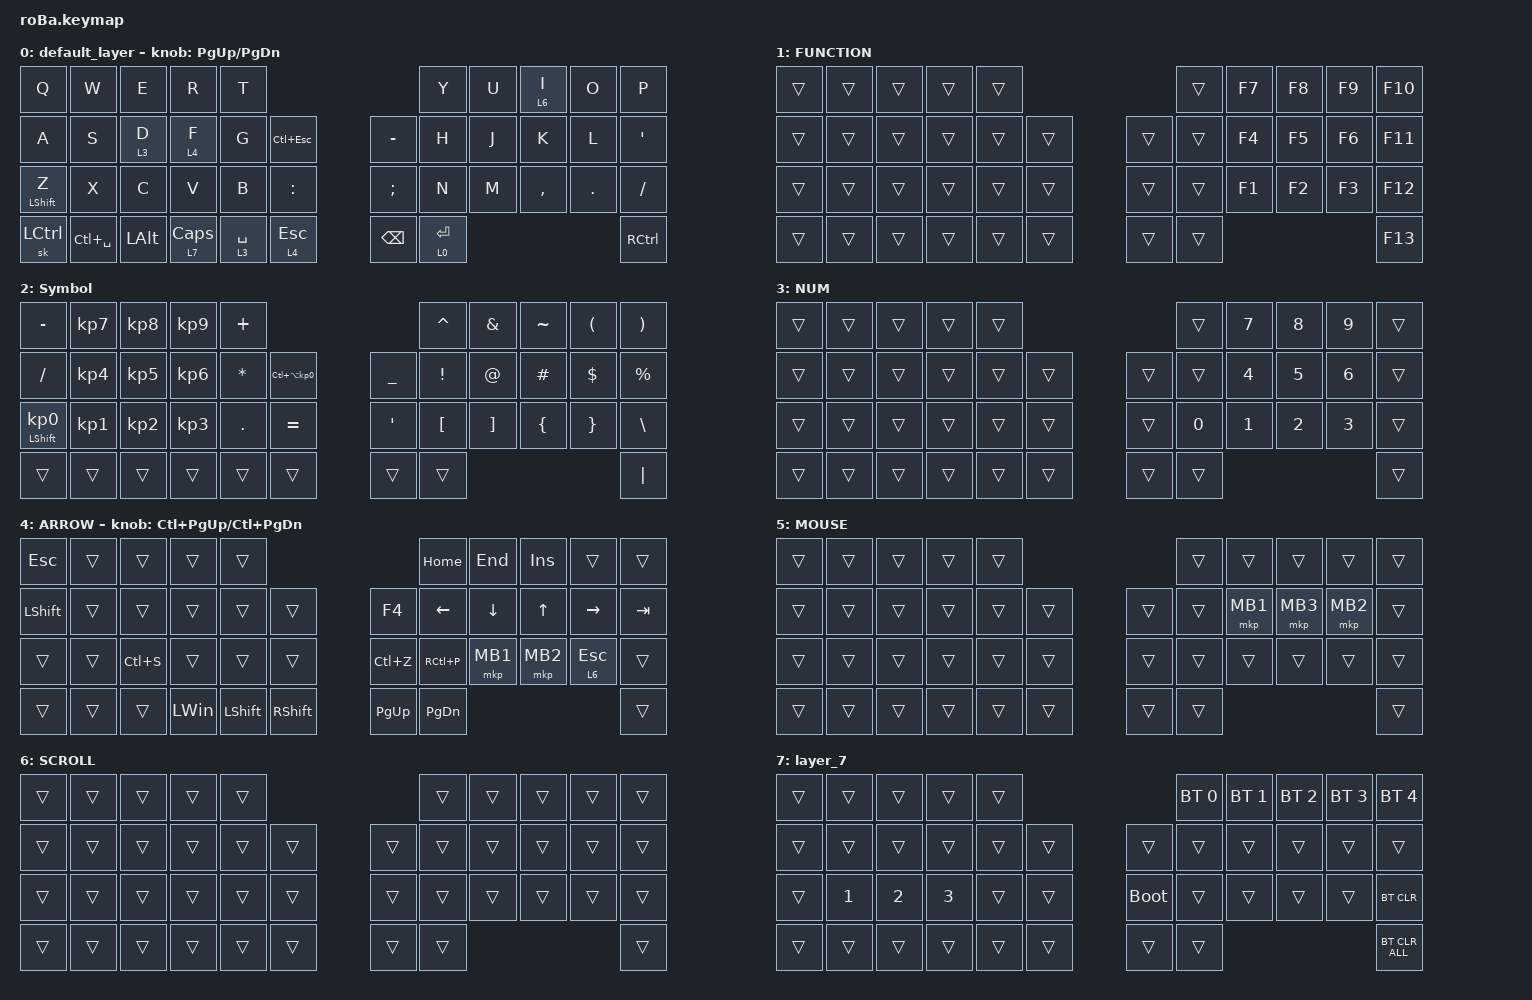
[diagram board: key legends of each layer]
#include <behaviors.dtsi>
#include <dt-bindings/zmk/bt.h>
#include <dt-bindings/zmk/keys.h>
#include <dt-bindings/zmk/pointing.h>

&mt {
    flavor = "balanced";
    quick-tap-ms = <0>;
};

&trackball {
    automouse-layer = <4>;
    scroll-layers = <5>;

    // arrows {
    //     layers = <3>;
    //     bindings =
    //         <&kp RIGHT_ARROW>,
    //         <&kp LEFT_ARROW>,
    //         <&kp UP_ARROW>,
    //         <&kp DOWN_ARROW>;
    //     tick = <10>;
    //     wait-ms = <5>;
    //     tap-ms = <5>;
    // };
};

/ {
    combos {
        compatible = "zmk,combos";

        tab {
            bindings = <&kp TAB>;
            key-positions = <11 12>;
        };

        shift_tab {
            bindings = <&kp LS(TAB)>;
            key-positions = <12 13>;
        };

        muhennkann {
            bindings = <&to_layer_0 INT_MUHENKAN>;
            key-positions = <11 10>;
        };

        double_quotation {
            bindings = <&kp DOUBLE_QUOTES>;
            key-positions = <20 21>;
        };

        eq {
            bindings = <&kp EQUAL>;
            key-positions = <24 25>;
        };
    };

    macros {
        to_layer_0: to_layer_0 {
            compatible = "zmk,behavior-macro-one-param";
            #binding-cells = <1>;
            bindings = <&to 3 &macro_param_1to1 &kp MACRO_PLACEHOLDER>;
            label = "TO_LAYER_0";
        };
    };

    behaviors {
        lt_to_layer_0: lt_to_layer_0 {
            compatible = "zmk,behavior-hold-tap";
            label = "LAYER_TAP_TO_0";
            bindings = <&mo>, <&to_layer_0>;

            #binding-cells = <2>;
            tapping-term-ms = <200>;
        };
    };

    keymap {
        compatible = "zmk,keymap";

        default_layer {
            bindings = <
&kp Q             &kp W          &kp E         &kp R                      &kp T                                                    &kp Y        &kp U  &lt 6 I    &kp O    &kp P
&kp A             &kp S          &lt 3 D       &lt 4 F                    &kp G        &kp LC(ESC)                  &kp MINUS      &kp H        &kp J  &kp K      &kp L    &kp SQT
&mt LEFT_SHIFT Z  &kp X          &kp C         &kp V                      &kp B        &kp COLON                    &kp SEMICOLON  &kp N        &kp M  &kp COMMA  &kp DOT  &kp SLASH
&sk LCTRL         &kp LC(SPACE)  &kp LEFT_ALT  &lt_to_layer_0 7 CAPSLOCK  &lt 3 SPACE  &lt_to_layer_0 4 ESCAPE      &kp BACKSPACE  &lt 0 ENTER                             &kp RCTRL
            >;

            sensor-bindings = <&inc_dec_kp PG_UP PAGE_DOWN>;
        };

        FUNCTION {
            bindings = <
&trans  &trans  &trans  &trans  &trans                      &trans  &kp F7  &kp F8  &kp F9  &kp F10
&trans  &trans  &trans  &trans  &trans  &trans      &trans  &trans  &kp F4  &kp F5  &kp F6  &kp F11
&trans  &trans  &trans  &trans  &trans  &trans      &trans  &trans  &kp F1  &kp F2  &kp F3  &kp F12
&trans  &trans  &trans  &trans  &trans  &trans      &trans  &trans                          &kp F13
            >;
        };

        Symbol {
            bindings = <
&kp MINUS                   &kp KP_NUMBER_7  &kp KP_NUMBER_8  &kp KP_NUMBER_9  &kp PLUS                                                   &kp CARET         &kp AMPERSAND      &kp TILDE       &kp LEFT_PARENTHESIS  &kp RIGHT_PARENTHESIS
&kp SLASH                   &kp KP_NUMBER_4  &kp KP_NUMBER_5  &kp KP_NUMBER_6  &kp ASTERISK  &kp LC(LA(KP_NUMBER_0))      &kp UNDERSCORE  &kp EXCLAMATION   &kp AT_SIGN        &kp HASH        &kp DOLLAR            &kp PERCENT
&mt LEFT_SHIFT KP_NUMBER_0  &kp KP_NUMBER_1  &kp KP_NUMBER_2  &kp KP_NUMBER_3  &kp PERIOD    &kp EQUAL                    &kp SQT         &kp LEFT_BRACKET  &kp RIGHT_BRACKET  &kp LEFT_BRACE  &kp RIGHT_BRACE       &kp BACKSLASH
&trans                      &trans           &trans           &trans           &trans        &trans                       &trans          &trans                                                                     &kp PIPE
            >;
        };

        NUM {
            bindings = <
&trans  &trans  &trans  &trans  &trans                      &trans  &kp N7  &kp N8  &kp N9  &trans
&trans  &trans  &trans  &trans  &trans  &trans      &trans  &trans  &kp N4  &kp N5  &kp N6  &trans
&trans  &trans  &trans  &trans  &trans  &trans      &trans  &kp N0  &kp N1  &kp N2  &kp N3  &trans
&trans  &trans  &trans  &trans  &trans  &trans      &trans  &trans                          &trans
            >;
        };

        ARROW {
            bindings = <
&kp ESCAPE      &trans  &trans     &trans        &trans                                      &kp HOME        &kp END         &kp INSERT    &trans           &trans
&kp LEFT_SHIFT  &trans  &trans     &trans        &trans          &trans         &kp F4       &kp LEFT_ARROW  &kp DOWN_ARROW  &kp UP_ARROW  &kp RIGHT_ARROW  &kp TAB
&trans          &trans  &kp LC(S)  &trans        &trans          &trans         &kp LC(Z)    &kp RC(P)       &mkp MB1        &mkp MB2      &lt 6 ESC        &trans
&trans          &trans  &trans     &kp LEFT_WIN  &kp LEFT_SHIFT  &kp RSHFT      &kp PAGE_UP  &kp PAGE_DOWN                                                  &trans
            >;

            sensor-bindings = <&inc_dec_kp LC(PAGE_UP) LC(PAGE_DOWN)>;
        };

        MOUSE {
            bindings = <
&trans  &trans  &trans  &trans  &trans                      &trans  &trans    &trans    &trans    &trans
&trans  &trans  &trans  &trans  &trans  &trans      &trans  &trans  &mkp MB1  &mkp MB3  &mkp MB2  &trans
&trans  &trans  &trans  &trans  &trans  &trans      &trans  &trans  &trans    &trans    &trans    &trans
&trans  &trans  &trans  &trans  &trans  &trans      &trans  &trans                                &trans
            >;
        };

        SCROLL {
            bindings = <
&trans  &trans  &trans  &trans  &trans                      &trans  &trans  &trans  &trans  &trans
&trans  &trans  &trans  &trans  &trans  &trans      &trans  &trans  &trans  &trans  &trans  &trans
&trans  &trans  &trans  &trans  &trans  &trans      &trans  &trans  &trans  &trans  &trans  &trans
&trans  &trans  &trans  &trans  &trans  &trans      &trans  &trans                          &trans
            >;
        };

        layer_7 {
            bindings = <
&trans  &trans        &trans        &trans        &trans                           &bt BT_SEL 0  &bt BT_SEL 1  &bt BT_SEL 2  &bt BT_SEL 3  &bt BT_SEL 4
&trans  &trans        &trans        &trans        &trans  &trans      &trans       &trans        &trans        &trans        &trans        &trans
&trans  &kp NUMBER_1  &kp NUMBER_2  &kp NUMBER_3  &trans  &trans      &bootloader  &trans        &trans        &trans        &trans        &bt BT_CLR
&trans  &trans        &trans        &trans        &trans  &trans      &trans       &trans                                                  &bt BT_CLR_ALL
            >;
        };
    };
};
